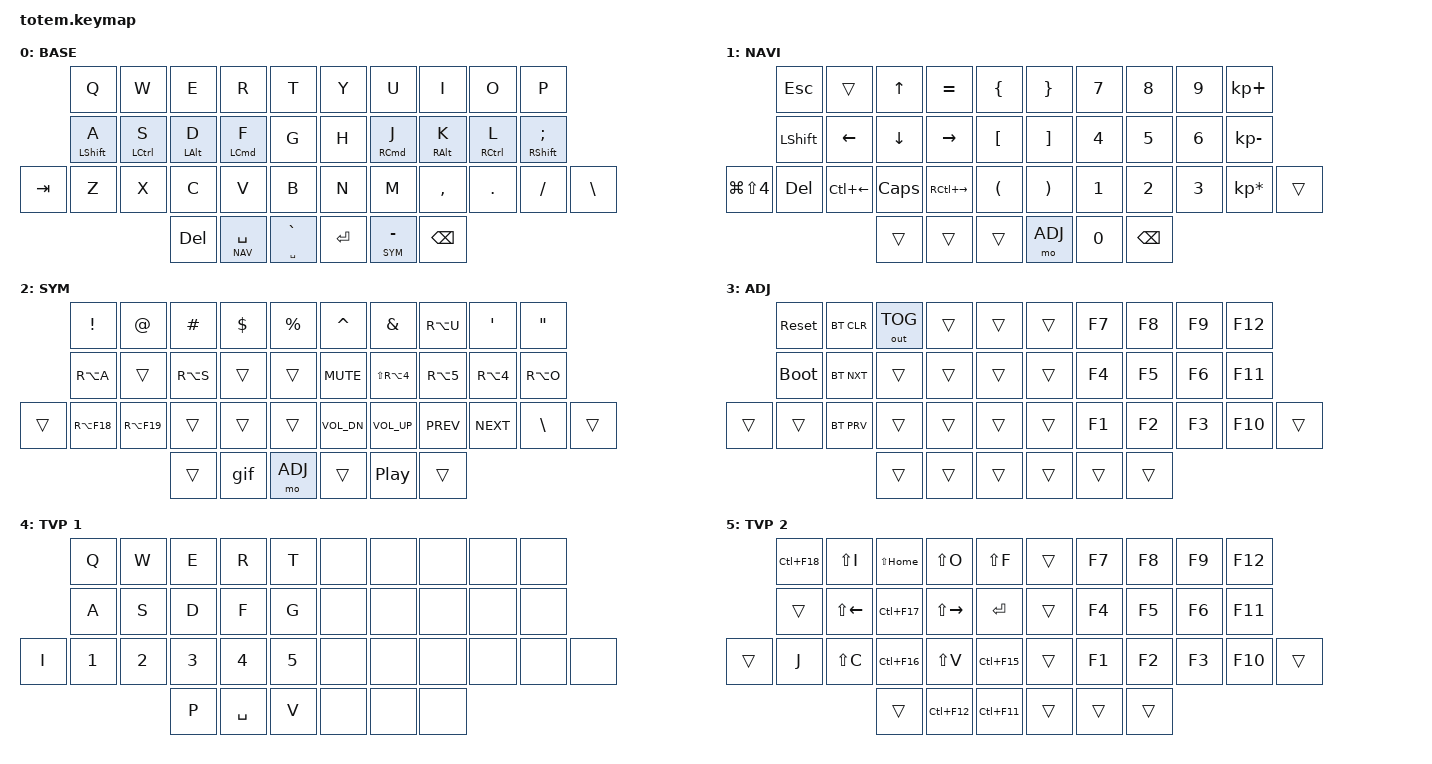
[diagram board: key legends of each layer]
//
//                                                        ▀▀▀▀▀     ▀▀▀▀▀          ▀▀█▀▀
//                                                        ▄▀▀▀▄  ▄  ▄▀▀▀▄  ▄  ▄▀▀▀▄  █  ▄▀▀▀▄
//                                                        █   █  █  █   █  █  █   █  █  █   █
//                                                         ▀▀▀   █   ▀▀▀   █   ▀▀▀   ▀   ▀▀▀
//                                                               █      ▄▄▄█▄▄▄    █   █  
//                                                               ▀      █  █  █     █▄█
//                                                             ▀▀▀▀▀    █  █  █      ▀
//                                                                      ▀  ▀  ▀
//
// ▄▄▄▄▄▄▄▄▄▄▄▄▄▄▄▄▄▄▄▄▄▄▄▄▄▄▄▄▄▄▄▄▄▄▄▄▄▄▄▄▄▄▄▄▄▄▄▄▄▄▄▄▄▄▄▄▄▄▄▄▄▄▄▄▄▄▄▄▄▄▄▄▄▄▄▄▄▄▄▄▄▄▄▄▄▄▄▄▄▄▄▄▄▄▄▄▄▄▄▄▄▄▄▄▄▄▄▄▄▄▄▄▄▄▄▄▄▄▄▄▄▄▄▄▄▄▄▄▄▄▄▄▄▄▄▄▄▄▄▄▄▄▄▄▄▄▄▄▄

#include <behaviors.dtsi>
#include <dt-bindings/zmk/bt.h>
#include <dt-bindings/zmk/keys.h>
#include <dt-bindings/zmk/outputs.h>

#define BASE 0
#define NAV  1
#define SYM  2
#define ADJ  3
#define TVP1 4
#define TVP2 5

&mt {
    quick-tap-ms = <100>;
    global-quick-tap;
    flavor = "tap-preferred";
    tapping-term-ms = <170>;
};

/ {
    combos {
        compatible = "zmk,combos";

        combo_esc {
            timeout-ms = <50>;
            key-positions = <0 1>;
            bindings = <&kp ESC>;
        };

        combo_tvp {
            timeout-ms = <100>;
            key-positions = <11 12 13>;
            bindings = <&tog TVP1>;
        };
    };

    macros {
        gif: gif {
            label = "giphy";
            compatible = "zmk,behavior-macro";
            #binding-cells = <0>;
            bindings =
                <&macro_press>,
                <&kp LSHFT>,
                <&macro_tap>,
                <&kp N2>,
                <&macro_release>,
                <&kp LSHFT>,
                <&macro_tap>,
                <&kp G &kp I &kp F>;
        };
    };

    keymap {
        compatible = "zmk,keymap";

        // ▄▄▄▄▄▄▄▄▄▄▄▄▄▄▄▄▄▄▄▄▄▄▄▄▄▄▄▄▄▄▄▄▄▄▄▄▄▄▄▄▄▄▄▄▄▄▄▄▄▄▄▄▄▄▄▄▄▄▄▄▄▄▄▄▄▄▄▄▄▄▄▄▄▄▄▄▄▄▄▄▄▄▄▄▄▄▄▄▄▄▄▄▄▄▄▄▄▄▄▄▄▄▄▄▄▄▄▄▄▄▄▄▄▄▄▄▄▄▄▄▄▄▄▄▄▄▄▄▄▄▄▄▄▄▄▄▄▄▄▄▄▄▄▄▄▄▄▄▄

        base_layer {
            // ┏━━━━━━━━━━━━━━━━━━━━━━━━━━━━━━━━━━━━━━━┓

            label = "BASE";

            // ┗━━━━━━━━━━━━━━━━━━━━━━━━━━━━━━━━━━━━━━━┛
            //             ┏━━━━━━━━━━━┳━━━━━━━━━━━┳━━━━━━━━━━━┳━━━━━━━━━━━┳━━━━━━━━━━━┓   ┏━━━━━━━━━━━┳━━━━━━━━━━━┳━━━━━━━━━━━┳━━━━━━━━━━━┳━━━━━━━━━━━┓
            //             ┃     Q     ┃     W     ┃     F     ┃     P     ┃     G     ┃   ┃     J     ┃     L     ┃     U     ┃     Y     ┃     ;     ┃
            //             ┣━━━━━━━━━━━╋━━━━━━━━━━━╋━━━━━━━━━━━╋━━━━━━━━━━━╋━━━━━━━━━━━┫   ┣━━━━━━━━━━━╋━━━━━━━━━━━╋━━━━━━━━━━━╋━━━━━━━━━━━╋━━━━━━━━━━━┫
            //             ┃     A     ┃     R     ┃     S     ┃     T     ┃     D     ┃   ┃     H     ┃     N     ┃     E     ┃     I     ┃     O     ┃
            // ┏━━━━━━━━━━━╋━━━━━━━━━━━╋━━━━━━━━━━━╋━━━━━━━━━━━╋━━━━━━━━━━━╋━━━━━━━━━━━┫   ┣━━━━━━━━━━━╋━━━━━━━━━━━╋━━━━━━━━━━━╋━━━━━━━━━━━╋━━━━━━━━━━━╋━━━━━━━━━━━┓
            // ┃     Q     ┃     Z     ┃     X     ┃     C     ┃     V     ┃     B     ┃   ┃     K     ┃     M     ┃     ,     ┃     .     ┃     /     ┃     \     ┃
            // ┗━━━━━━━━━━━┻━━━━━━━━━━━┻━━━━━━━━━━━╋━━━━━━━━━━━╋━━━━━━━━━━━╋━━━━━━━━━━━┫   ┣━━━━━━━━━━━╋━━━━━━━━━━━╋━━━━━━━━━━━╋━━━━━━━━━━━┻━━━━━━━━━━━┻━━━━━━━━━━━┛
            //                                     ┃    DEL    ┃    TAB    ┃    SPC    ┃   ┃   ENTER   ┃           ┃   BSPC    ┃
            //                                     ┗━━━━━━━━━━━┻━━━━━━━━━━━┻━━━━━━━━━━━┛   ┗━━━━━━━━━━━┻━━━━━━━━━━━┻━━━━━━━━━━━┛

            bindings = <
         &kp Q             &kp W               &kp E           &kp R               &kp T              &kp Y    &kp U                &kp I            &kp O                &kp P
         &mt LEFT_SHIFT A  &mt LEFT_CONTROL S  &mt LEFT_ALT D  &mt LEFT_COMMAND F  &kp G              &kp H    &mt RIGHT_COMMAND J  &mt RIGHT_ALT K  &mt RIGHT_CONTROL L  &mt RIGHT_SHIFT SEMICOLON
&kp TAB  &kp Z             &kp X               &kp C           &kp V               &kp B              &kp N    &kp M                &kp COMMA        &kp DOT              &kp FSLH                   &kp BSLH
                                               &kp DEL         &lt NAV SPACE       &mt SPACE GRAVE    &kp RET  &lt SYM MINUS        &kp BACKSPACE
            >;
        };

        // ▄▄▄▄▄▄▄▄▄▄▄▄▄▄▄▄▄▄▄▄▄▄▄▄▄▄▄▄▄▄▄▄▄▄▄▄▄▄▄▄▄▄▄▄▄▄▄▄▄▄▄▄▄▄▄▄▄▄▄▄▄▄▄▄▄▄▄▄▄▄▄▄▄▄▄▄▄▄▄▄▄▄▄▄▄▄▄▄▄▄▄▄▄▄▄▄▄▄▄▄▄▄▄▄▄▄▄▄▄▄▄▄▄▄▄▄▄▄▄▄▄▄▄▄▄▄▄▄▄▄▄▄▄▄▄▄▄▄▄▄▄▄▄▄▄▄▄▄▄

        nav_layer {
            // ┏━━━━━━━━━━━━━━━━━━━━━━━━━━━━━━━━━━━━━━━┓

            label = "NAVI";

            // ┗━━━━━━━━━━━━━━━━━━━━━━━━━━━━━━━━━━━━━━━┛
            //             ┏━━━━━━━━━━━┳━━━━━━━━━━━┳━━━━━━━━━━━┳━━━━━━━━━━━┳━━━━━━━━━━━┓   ┏━━━━━━━━━━━┳━━━━━━━━━━━┳━━━━━━━━━━━┳━━━━━━━━━━━┳━━━━━━━━━━━┓
            //             ┃           ┃           ┃     UP    ┃           ┃     {     ┃   ┃     }     ┃     7     ┃     8     ┃     9     ┃     +     ┃
            //             ┣━━━━━━━━━━━╋━━━━━━━━━━━╋━━━━━━━━━━━╋━━━━━━━━━━━╋━━━━━━━━━━━┫   ┣━━━━━━━━━━━╋━━━━━━━━━━━╋━━━━━━━━━━━╋━━━━━━━━━━━╋━━━━━━━━━━━┫
            //             ┃   SHIFT   ┃   LEFT    ┃    DOWN   ┃   RIGHT   ┃     [     ┃   ┃     ]     ┃     4     ┃     5     ┃     6     ┃     -     ┃
            // ┏━━━━━━━━━━━╋━━━━━━━━━━━╋━━━━━━━━━━━╋━━━━━━━━━━━╋━━━━━━━━━━━╋━━━━━━━━━━━┫   ┣━━━━━━━━━━━╋━━━━━━━━━━━╋━━━━━━━━━━━╋━━━━━━━━━━━╋━━━━━━━━━━━╋━━━━━━━━━━━┓
            // ┃           ┃           ┃   P UP    ┃  C LOCK   ┃  P DOWN   ┃     (     ┃   ┃     )     ┃     1     ┃     2     ┃     3     ┃     *     ┃           ┃
            // ┗━━━━━━━━━━━┻━━━━━━━━━━━┻━━━━━━━━━━━╋━━━━━━━━━━━╋━━━━━━━━━━━╋━━━━━━━━━━━┫   ┣━━━━━━━━━━━╋━━━━━━━━━━━╋━━━━━━━━━━━╋━━━━━━━━━━━┻━━━━━━━━━━━┻━━━━━━━━━━━┛
            //                                     ┃           ┃    TAB    ┃    SPC    ┃   ┃    DEL    ┃     0     ┃           ┃
            //                                     ┗━━━━━━━━━━━┻━━━━━━━━━━━┻━━━━━━━━━━━┛   ┗━━━━━━━━━━━┻━━━━━━━━━━━┻━━━━━━━━━━━┛

            bindings = <
                      &kp ESC         &trans        &kp UP    &kp EQUAL      &kp LBRC    &kp RBRC  &kp N7        &kp N8         &kp N9        &kp KP_PLUS
                      &kp LEFT_SHIFT  &kp LEFT      &kp DOWN  &kp RIGHT      &kp LBKT    &kp RBKT  &kp NUMBER_4  &kp N5         &kp NUMBER_6  &kp KP_MINUS
&kp LG(LS(NUMBER_4))  &kp DEL         &kp LC(LEFT)  &kp CAPS  &kp RC(RIGHT)  &kp LPAR    &kp RPAR  &kp N1        &kp NUMBER_2   &kp NUMBER_3  &kp KP_MULTIPLY  &trans
                                                    &trans    &trans         &trans      &mo ADJ   &kp N0        &kp BACKSPACE
            >;
        };

        // ▄▄▄▄▄▄▄▄▄▄▄▄▄▄▄▄▄▄▄▄▄▄▄▄▄▄▄▄▄▄▄▄▄▄▄▄▄▄▄▄▄▄▄▄▄▄▄▄▄▄▄▄▄▄▄▄▄▄▄▄▄▄▄▄▄▄▄▄▄▄▄▄▄▄▄▄▄▄▄▄▄▄▄▄▄▄▄▄▄▄▄▄▄▄▄▄▄▄▄▄▄▄▄▄▄▄▄▄▄▄▄▄▄▄▄▄▄▄▄▄▄▄▄▄▄▄▄▄▄▄▄▄▄▄▄▄▄▄▄▄▄▄▄▄▄▄▄▄▄

        sim_layer {
            // ┏━━━━━━━━━━━━━━━━━━━━━━━━━━━━━━━━━━━━━━━┓

            label = "SYM";

            // ┗━━━━━━━━━━━━━━━━━━━━━━━━━━━━━━━━━━━━━━━┛
            //             ┏━━━━━━━━━━━┳━━━━━━━━━━━┳━━━━━━━━━━━┳━━━━━━━━━━━┳━━━━━━━━━━━┓   ┏━━━━━━━━━━━┳━━━━━━━━━━━┳━━━━━━━━━━━┳━━━━━━━━━━━┳━━━━━━━━━━━┓
            //             ┃     !     ┃     @     ┃     #     ┃     $     ┃     %     ┃   ┃     ˆ     ┃     &     ┃     Ü     ┃     '     ┃     "     ┃
            //             ┣━━━━━━━━━━━╋━━━━━━━━━━━╋━━━━━━━━━━━╋━━━━━━━━━━━╋━━━━━━━━━━━┫   ┣━━━━━━━━━━━╋━━━━━━━━━━━╋━━━━━━━━━━━╋━━━━━━━━━━━╋━━━━━━━━━━━┫
            //             ┃     Ä     ┃           ┃    SZ     ┃           ┃           ┃   ┃   MUTE    ┃   YEN     ┃   EURO    ┃  POUND    ┃     Ö     ┃
            // ┏━━━━━━━━━━━╋━━━━━━━━━━━╋━━━━━━━━━━━╋━━━━━━━━━━━╋━━━━━━━━━━━╋━━━━━━━━━━━┫   ┣━━━━━━━━━━━╋━━━━━━━━━━━╋━━━━━━━━━━━╋━━━━━━━━━━━╋━━━━━━━━━━━╋━━━━━━━━━━━┓
            // ┃           ┃  EMAIL1   ┃  EMAIL2   ┃           ┃           ┃           ┃   ┃   VOL-    ┃   VOL+    ┃   LAST    ┃   NEXT    ┃     \     ┃           ┃
            // ┗━━━━━━━━━━━┻━━━━━━━━━━━┻━━━━━━━━━━━╋━━━━━━━━━━━╋━━━━━━━━━━━╋━━━━━━━━━━━┫   ┣━━━━━━━━━━━╋━━━━━━━━━━━╋━━━━━━━━━━━╋━━━━━━━━━━━┻━━━━━━━━━━━┻━━━━━━━━━━━┛
            //                                     ┃           ┃    GIF    ┃    ADJ    ┃   ┃           ┃           ┃           ┃
            //                                     ┗━━━━━━━━━━━┻━━━━━━━━━━━┻━━━━━━━━━━━┛   ┗━━━━━━━━━━━┻━━━━━━━━━━━┻━━━━━━━━━━━┛

            bindings = <
        &kp EXCL     &kp AT       &kp HASH   &kp DLLR  &kp PRCNT    &kp CARET     &kp AMPS        &kp RA(U)   &kp SQT     &kp DQT
        &kp RA(A)    &trans       &kp RA(S)  &trans    &trans       &kp C_MUTE    &kp LS(RA(N4))  &kp RA(N5)  &kp RA(N4)  &kp RA(O)
&trans  &kp RA(F18)  &kp RA(F19)  &trans     &trans    &trans       &kp C_VOL_DN  &kp C_VOL_UP    &kp C_PREV  &kp C_NEXT  &kp BSLH   &trans
                                  &trans     &gif      &mo ADJ      &trans        &kp C_PP        &trans
            >;
        };

        // ▄▄▄▄▄▄▄▄▄▄▄▄▄▄▄▄▄▄▄▄▄▄▄▄▄▄▄▄▄▄▄▄▄▄▄▄▄▄▄▄▄▄▄▄▄▄▄▄▄▄▄▄▄▄▄▄▄▄▄▄▄▄▄▄▄▄▄▄▄▄▄▄▄▄▄▄▄▄▄▄▄▄▄▄▄▄▄▄▄▄▄▄▄▄▄▄▄▄▄▄▄▄▄▄▄▄▄▄▄▄▄▄▄▄▄▄▄▄▄▄▄▄▄▄▄▄▄▄▄▄▄▄▄▄▄▄▄▄▄▄▄▄▄▄▄▄▄▄▄

        adjust_layer {
            // ┏━━━━━━━━━━━━━━━━━━━━━━━━━━━━━━━━━━━━━━━┓

            label = "ADJ";

            // ┗━━━━━━━━━━━━━━━━━━━━━━━━━━━━━━━━━━━━━━━┛
            //             ┏━━━━━━━━━━━┳━━━━━━━━━━━┳━━━━━━━━━━━┳━━━━━━━━━━━┳━━━━━━━━━━━┓   ┏━━━━━━━━━━━┳━━━━━━━━━━━┳━━━━━━━━━━━┳━━━━━━━━━━━┳━━━━━━━━━━━┓
            //             ┃   RESET   ┃ BT CLEAR  ┃  OUT TOG  ┃           ┃           ┃   ┃           ┃    F7     ┃    F8     ┃    F9     ┃    F12    ┃
            //             ┣━━━━━━━━━━━╋━━━━━━━━━━━╋━━━━━━━━━━━╋━━━━━━━━━━━╋━━━━━━━━━━━┫   ┣━━━━━━━━━━━╋━━━━━━━━━━━╋━━━━━━━━━━━╋━━━━━━━━━━━╋━━━━━━━━━━━┫
            //             ┃ BOOTLOAD  ┃ BT NEXT   ┃           ┃           ┃           ┃   ┃           ┃    F4     ┃    F5     ┃    F6     ┃    F11    ┃
            // ┏━━━━━━━━━━━╋━━━━━━━━━━━╋━━━━━━━━━━━╋━━━━━━━━━━━╋━━━━━━━━━━━╋━━━━━━━━━━━┫   ┣━━━━━━━━━━━╋━━━━━━━━━━━╋━━━━━━━━━━━╋━━━━━━━━━━━╋━━━━━━━━━━━╋━━━━━━━━━━━┓
            // ┃           ┃           ┃ BT PREV   ┃           ┃           ┃           ┃   ┃           ┃    F1     ┃    F2     ┃    F3     ┃    F10    ┃           ┃
            // ┗━━━━━━━━━━━┻━━━━━━━━━━━┻━━━━━━━━━━━╋━━━━━━━━━━━╋━━━━━━━━━━━╋━━━━━━━━━━━┫   ┣━━━━━━━━━━━╋━━━━━━━━━━━╋━━━━━━━━━━━╋━━━━━━━━━━━┻━━━━━━━━━━━┻━━━━━━━━━━━┛
            //                                     ┃           ┃           ┃           ┃   ┃           ┃           ┃           ┃
            //                                     ┗━━━━━━━━━━━┻━━━━━━━━━━━┻━━━━━━━━━━━┛   ┗━━━━━━━━━━━┻━━━━━━━━━━━┻━━━━━━━━━━━┛

            bindings = <
        &sys_reset   &bt BT_CLR  &out OUT_TOG  &trans  &trans    &trans  &kp F7  &kp F8  &kp F9  &kp F12
        &bootloader  &bt BT_NXT  &trans        &trans  &trans    &trans  &kp F4  &kp F5  &kp F6  &kp F11
&trans  &trans       &bt BT_PRV  &trans        &trans  &trans    &trans  &kp F1  &kp F2  &kp F3  &kp F10  &trans
                                 &trans        &trans  &trans    &trans  &trans  &trans
            >;
        };

        // ▄▄▄▄▄▄▄▄▄▄▄▄▄▄▄▄▄▄▄▄▄▄▄▄▄▄▄▄▄▄▄▄▄▄▄▄▄▄▄▄▄▄▄▄▄▄▄▄▄▄▄▄▄▄▄▄▄▄▄▄▄▄▄▄▄▄▄▄▄▄▄▄▄▄▄▄▄▄▄▄▄▄▄▄▄▄▄▄▄▄▄▄▄▄▄▄▄▄▄▄▄▄▄▄▄▄▄▄▄▄▄▄▄▄▄▄▄▄▄▄▄▄▄▄▄▄▄▄▄▄▄▄▄▄▄▄▄▄▄▄▄▄▄▄▄▄▄▄▄

        tvp1_layer {
            // ┏━━━━━━━━━━━━━━━━━━━━━━━━━━━━━━━━━━━━━━━┓

            label = "TVP 1";

            // ┗━━━━━━━━━━━━━━━━━━━━━━━━━━━━━━━━━━━━━━━┛
            //             ┏━━━━━━━━━━━┳━━━━━━━━━━━┳━━━━━━━━━━━┳━━━━━━━━━━━┳━━━━━━━━━━━┓   ┏━━━━━━━━━━━┳━━━━━━━━━━━┳━━━━━━━━━━━┳━━━━━━━━━━━┳━━━━━━━━━━━┓
            //             ┃ NEXT FILE ┃ MARK IN   ┃ ROTATE    ┃ MARK OUT  ┃ SHOW SNAP ┃   ┃           ┃           ┃           ┃           ┃           ┃
            //             ┣━━━━━━━━━━━╋━━━━━━━━━━━╋━━━━━━━━━━━╋━━━━━━━━━━━╋━━━━━━━━━━━┫   ┣━━━━━━━━━━━╋━━━━━━━━━━━╋━━━━━━━━━━━╋━━━━━━━━━━━╋━━━━━━━━━━━┫
            //             ┃ TVP II    ┃ LEFT      ┃ PAN       ┃ RIGHT     ┃ PLAY/FLIP ┃   ┃           ┃           ┃           ┃           ┃           ┃
            // ┏━━━━━━━━━━━╋━━━━━━━━━━━╋━━━━━━━━━━━╋━━━━━━━━━━━╋━━━━━━━━━━━╋━━━━━━━━━━━┫   ┣━━━━━━━━━━━╋━━━━━━━━━━━╋━━━━━━━━━━━╋━━━━━━━━━━━╋━━━━━━━━━━━╋━━━━━━━━━━━┓
            // ┃ FULLSCR   ┃ SHIFT     ┃ COPY      ┃ DELETE    ┃ PASTE     ┃ IMG MARK  ┃   ┃           ┃           ┃           ┃           ┃           ┃           ┃
            // ┗━━━━━━━━━━━┻━━━━━━━━━━━┻━━━━━━━━━━━╋━━━━━━━━━━━╋━━━━━━━━━━━╋━━━━━━━━━━━┫   ┣━━━━━━━━━━━╋━━━━━━━━━━━╋━━━━━━━━━━━╋━━━━━━━━━━━┻━━━━━━━━━━━┻━━━━━━━━━━━┛
            //                                     ┃           ┃ UNDO/SAVE ┃  SEL/MOV  ┃   ┃           ┃           ┃           ┃
            //                                     ┗━━━━━━━━━━━┻━━━━━━━━━━━┻━━━━━━━━━━━┛   ┗━━━━━━━━━━━┻━━━━━━━━━━━┻━━━━━━━━━━━┛

            bindings = <
       &kp Q   &kp W   &kp E   &kp R      &kp T     &none  &none  &none  &none  &none
       &kp A   &kp S   &kp D   &kp F      &kp G     &none  &none  &none  &none  &none
&kp I  &kp N1  &kp N2  &kp N3  &kp N4     &kp N5    &none  &none  &none  &none  &none  &none
                       &kp P   &kp SPACE  &kp V     &none  &none  &none
            >;
        };

        // ▄▄▄▄▄▄▄▄▄▄▄▄▄▄▄▄▄▄▄▄▄▄▄▄▄▄▄▄▄▄▄▄▄▄▄▄▄▄▄▄▄▄▄▄▄▄▄▄▄▄▄▄▄▄▄▄▄▄▄▄▄▄▄▄▄▄▄▄▄▄▄▄▄▄▄▄▄▄▄▄▄▄▄▄▄▄▄▄▄▄▄▄▄▄▄▄▄▄▄▄▄▄▄▄▄▄▄▄▄▄▄▄▄▄▄▄▄▄▄▄▄▄▄▄▄▄▄▄▄▄▄▄▄▄▄▄▄▄▄▄▄▄▄▄▄▄▄▄▄

        tvp2_layer {
            // ┏━━━━━━━━━━━━━━━━━━━━━━━━━━━━━━━━━━━━━━━┓

            label = "TVP 2";

            // ┗━━━━━━━━━━━━━━━━━━━━━━━━━━━━━━━━━━━━━━━┛
            //             ┏━━━━━━━━━━━┳━━━━━━━━━━━┳━━━━━━━━━━━┳━━━━━━━━━━━┳━━━━━━━━━━━┓   ┏━━━━━━━━━━━┳━━━━━━━━━━━┳━━━━━━━━━━━┳━━━━━━━━━━━┳━━━━━━━━━━━┓
            //             ┃ SOLO      ┃ TOGGLE IN ┃ RESET ROT ┃ TOGGLE OUT┃ TAKE SNAP ┃   ┃           ┃           ┃           ┃           ┃           ┃
            //             ┣━━━━━━━━━━━╋━━━━━━━━━━━╋━━━━━━━━━━━╋━━━━━━━━━━━╋━━━━━━━━━━━┫   ┣━━━━━━━━━━━╋━━━━━━━━━━━╋━━━━━━━━━━━╋━━━━━━━━━━━╋━━━━━━━━━━━┫
            //             ┃ ---       ┃ LAST KEY  ┃ NEW KEY   ┃ NEXT KEY  ┃ ENTER     ┃   ┃           ┃           ┃           ┃           ┃           ┃
            // ┏━━━━━━━━━━━╋━━━━━━━━━━━╋━━━━━━━━━━━╋━━━━━━━━━━━╋━━━━━━━━━━━╋━━━━━━━━━━━┫   ┣━━━━━━━━━━━╋━━━━━━━━━━━╋━━━━━━━━━━━╋━━━━━━━━━━━╋━━━━━━━━━━━╋━━━━━━━━━━━┓
            // ┃           ┃ FULLSCR   ┃ CPY2BRUSH ┃ DEL HEAD  ┃ PSTinPLACE┃ BOOK MARK ┃   ┃           ┃           ┃           ┃           ┃           ┃           ┃
            // ┗━━━━━━━━━━━┻━━━━━━━━━━━┻━━━━━━━━━━━╋━━━━━━━━━━━╋━━━━━━━━━━━╋━━━━━━━━━━━┫   ┣━━━━━━━━━━━╋━━━━━━━━━━━╋━━━━━━━━━━━╋━━━━━━━━━━━┻━━━━━━━━━━━┻━━━━━━━━━━━┛
            //                                     ┃           ┃ REDO/SAV1 ┃TRANS/WARP ┃   ┃           ┃           ┃           ┃
            //                                     ┗━━━━━━━━━━━┻━━━━━━━━━━━┻━━━━━━━━━━━┛   ┗━━━━━━━━━━━┻━━━━━━━━━━━┻━━━━━━━━━━━┛

            bindings = <
        &kp LC(F18)  &kp LS(I)     &kp LS(HOME)  &kp LS(O)      &kp LS(F)      &trans  &kp F7  &kp F8  &kp F9  &kp F12
        &trans       &kp LS(LEFT)  &kp LC(F17)   &kp LS(RIGHT)  &kp RET        &trans  &kp F4  &kp F5  &kp F6  &kp F11
&trans  &kp J        &kp LS(C)     &kp LC(F16)   &kp LS(V)      &kp LC(F15)    &trans  &kp F1  &kp F2  &kp F3  &kp F10  &trans
                                   &trans        &kp LC(F12)    &kp LC(F11)    &trans  &trans  &trans
            >;
        };
    };
};
